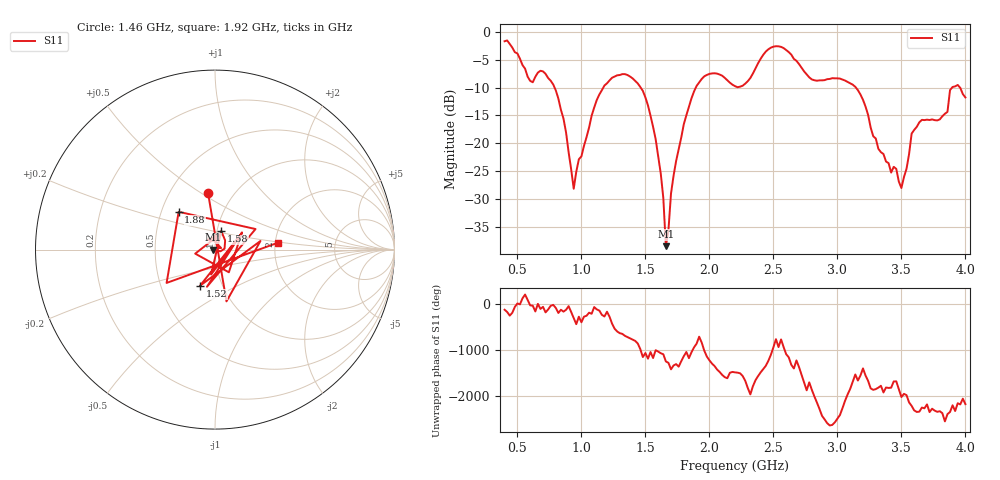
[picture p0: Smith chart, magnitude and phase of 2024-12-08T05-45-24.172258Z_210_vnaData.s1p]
!Created with skrf (http://scikit-rf.org).
# Hz S RI R 50.0
!freq ReS11 ImS11
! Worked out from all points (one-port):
!   181 points, 400 MHz to 4 GHz, reference 50 ohm
!   lowest |S11| = -38.5 dB at 1.66 GHz (marker M1), VSWR 1.02, Z = 48.8 - j0.12 ohm
!   |S11| at or under -10 dB: 790.4 MHz to 1.171 GHz (380.8 MHz wide, 38.8 % of centre); 1.463 GHz to 1.894 GHz (430.8 MHz wide, 25.7 % of centre); 3.144 GHz to 3.896 GHz (751.7 MHz wide, 21.4 % of centre) (the widest 3 of 4)
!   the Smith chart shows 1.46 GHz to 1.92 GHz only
!   S11 on the Smith chart (normalised r, x): 1.46 GHz: 0.76, +0.54; 1.52 GHz: 0.78, -0.33; 1.58 GHz: 1.05, +0.22; 1.88 GHz: 0.61, +0.28; 1.92 GHz: 2.07, +0.18
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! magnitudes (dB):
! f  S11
! 400 MHz  -1.7
! 600 MHz  -8.8
! 720 MHz  -7.5
! 860 MHz  -15.6
! 940 MHz  -28.2
! 1.12 GHz  -12.2
! 1.3 GHz  -7.7
! 1.46 GHz  -9.9
! 1.52 GHz  -13.2
! 1.58 GHz  -19.3
! 1.64 GHz  -29.8
! 1.66 GHz  -38.5
! 1.7 GHz  -29.0
! 1.76 GHz  -21.1
! 1.88 GHz  -10.7
! 1.92 GHz  -9.1
! 2.2 GHz  -9.7
! 2.48 GHz  -2.8
! 2.66 GHz  -4.8
! 2.8 GHz  -8.5
! 3.1 GHz  -9.2
! 3.5 GHz  -28.0
! 3.56 GHz  -21.9
! 3.58 GHz  -18.3
! 3.64 GHz  -16.2
! 3.86 GHz  -14.4
! 3.9 GHz  -9.9
! 4 GHz  -11.8
